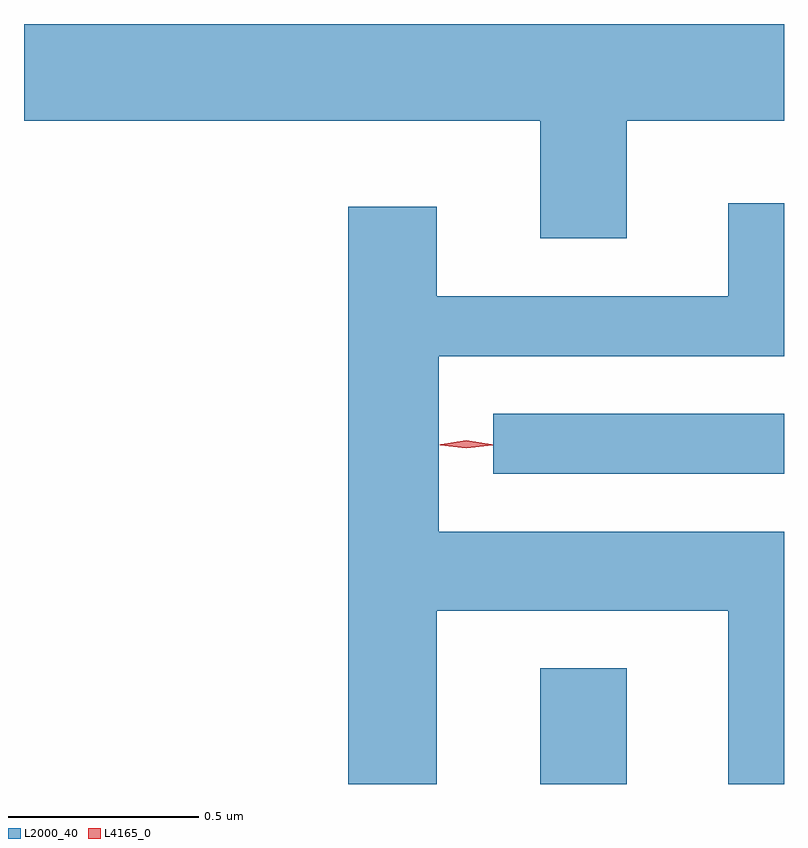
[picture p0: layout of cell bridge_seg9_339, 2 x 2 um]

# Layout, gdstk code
import gdstk
lib = gdstk.Library(unit=1e-6, precision=1e-09)
def R(c, l, rs):  # rectangles x0, y0, x1, y1
    for r in rs: c.add(gdstk.rectangle(r[:2], r[2:], *l))
def P(c, l, *ps):  # polygons
    for p in ps: c.add(gdstk.Polygon(p, *l))
L2000_40 = (2000, 40)
L4165_0 = (4165, 0)

bridge_seg9_339 = lib.new_cell('bridge_seg9_339')
R(bridge_seg9_339, L2000_40, [(723.071,2025.59,723.299,2025.894), (722.948,2026.406,723.713,2026.564)])
P(bridge_seg9_339, L2000_40, [(723.299,2027.336),(723.713,2027.336),(723.713,2027.59),(721.713,2027.59),(721.713,2027.336),(723.071,2027.336),(723.071,2027.026),(723.299,2027.026)],
  [(722.799,2026.046),(723.566,2026.046),(723.566,2025.59),(723.713,2025.59),(723.713,2026.254),(722.804,2026.254),(722.804,2026.716),(723.713,2026.716),(723.713,2027.118),(723.566,2027.118),(723.566,2026.874),(722.799,2026.874),(722.799,2027.109),(722.566,2027.109),(722.566,2025.59),(722.799,2025.59)])
P(bridge_seg9_339, L4165_0, [(722.877,2026.474),(722.811,2026.483),(722.81,2026.484),(722.811,2026.484),(722.877,2026.494),(722.942,2026.484),(722.943,2026.484),(722.942,2026.483)],
  [(722.877,2026.473),(722.808,2026.482),(722.807,2026.483),(722.808,2026.483),(722.877,2026.493),(722.946,2026.483),(722.946,2026.483),(722.946,2026.482)])

lib.write_gds('bridge_seg9_339.gds')
